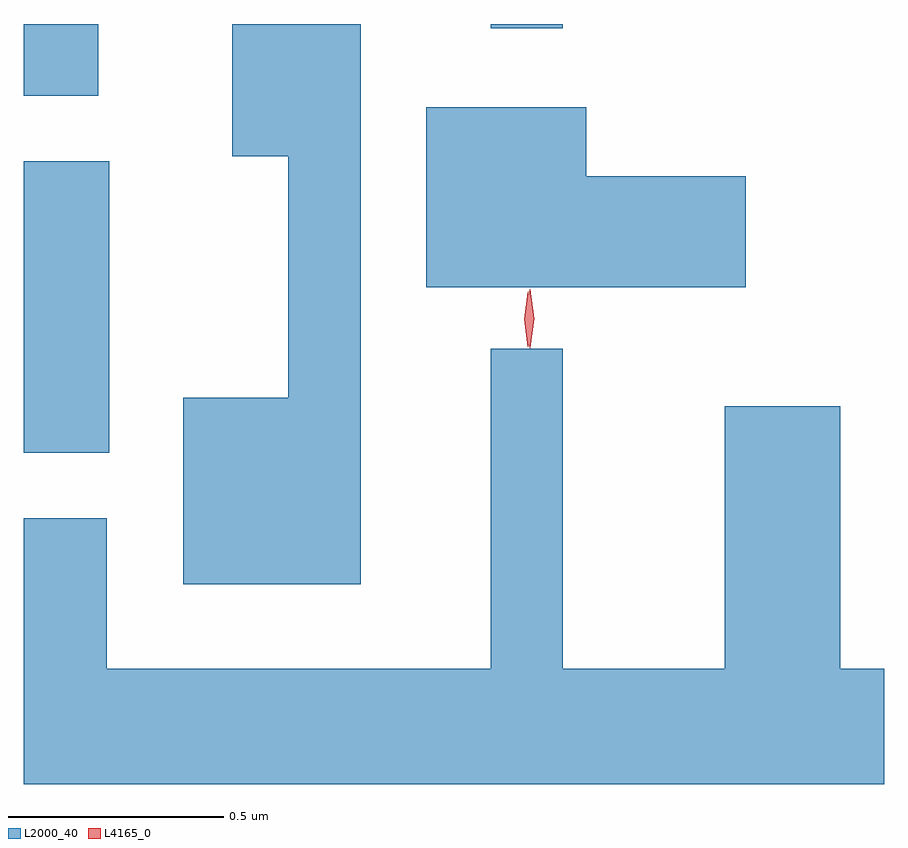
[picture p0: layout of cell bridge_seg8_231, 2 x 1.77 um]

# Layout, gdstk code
import gdstk
lib = gdstk.Library(unit=1e-6, precision=1e-09)
def R(c, l, rs):  # rectangles x0, y0, x1, y1
    for r in rs: c.add(gdstk.rectangle(r[:2], r[2:], *l))
def P(c, l, *ps):  # polygons
    for p in ps: c.add(gdstk.Polygon(p, *l))
L2000_40 = (2000, 40)
L4165_0 = (4165, 0)

bridge_seg8_231 = lib.new_cell('bridge_seg8_231')
R(bridge_seg8_231, L2000_40, [(1152.506,1928.206,1152.704,1928.884), (1152.506,1929.036,1152.679,1929.203), (1153.591,1929.193,1153.759,1929.203)])
P(bridge_seg8_231, L2000_40, [(1153.289,1929.203),(1152.991,1929.203),(1152.991,1928.896),(1153.121,1928.896),(1153.121,1928.334),(1152.876,1928.334),(1152.876,1927.901),(1153.289,1927.901)],
  [(1154.184,1928.849),(1153.814,1928.849),(1153.814,1929.009),(1153.441,1929.009),(1153.441,1928.591),(1154.184,1928.591)],
  [(1154.506,1927.704),(1154.404,1927.704),(1154.404,1928.314),(1154.136,1928.314),(1154.136,1927.704),(1153.759,1927.704),(1153.759,1928.448),(1153.591,1928.448),(1153.591,1927.704),(1152.699,1927.704),(1152.699,1928.054),(1152.506,1928.054),(1152.506,1927.436),(1154.506,1927.436)])
P(bridge_seg8_231, L4165_0, [(1153.678,1928.453),(1153.669,1928.516),(1153.678,1928.579),(1153.679,1928.58),(1153.679,1928.579),(1153.689,1928.516),(1153.679,1928.453),(1153.679,1928.453)],
  [(1153.683,1928.449),(1153.682,1928.45),(1153.673,1928.518),(1153.682,1928.586),(1153.683,1928.586),(1153.683,1928.586),(1153.693,1928.518),(1153.683,1928.45)])

lib.write_gds('bridge_seg8_231.gds')
